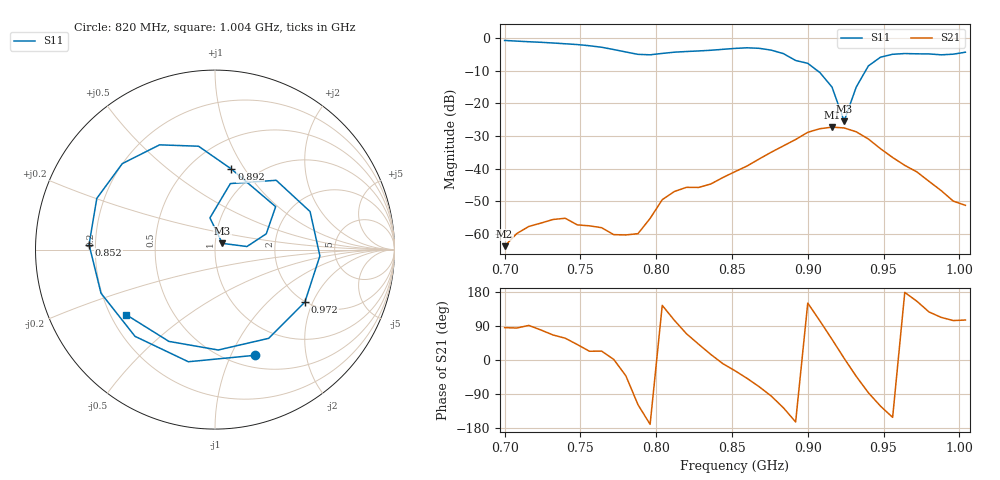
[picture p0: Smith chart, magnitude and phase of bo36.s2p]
# Hz S RI R 50
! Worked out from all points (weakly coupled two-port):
!   39 points, 700 MHz to 1.004 GHz, reference 50 ohm
!   highest |S21| = -27.28 dB at 916 MHz (marker M1); lowest = -63.9 dB at 700 MHz (marker M2)
!   lowest |S11| = -25.4 dB at 924 MHz (marker M3), VSWR 1.11, Z = 54.1 + j3.76 ohm
!   |S11| at or under -10 dB: 906.6 MHz to 938.1 MHz (31.48 MHz wide, 3.41 % of centre)
!   S12 and S22 are empty: the file has one direction only
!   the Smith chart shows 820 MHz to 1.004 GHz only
!   S11 on the Smith chart (normalised r, x): 820 MHz: 0.63, -1.24; 852 MHz: 0.17, +0.02; 892 MHz: 0.77, +0.87; 972 MHz: 1.98, -1.75; 1.004 GHz: 0.26, -0.31
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7e8  0.7656 0.5291  5.11e-05 0.000638  0 0  0 0
7.24e8  0.8319 -0.2618  0.000273 0.00142  0 0  0 0
7.4e8  0.4407 -0.7005  0.000924 0.00145  0 0  0 0
7.56e8  -0.2006 -0.7452  0.00121 0.000516  0 0  0 0
7.72e8  -0.6511 -0.1768  0.000963 2.62e-05  0 0  0 0
7.8e8  -0.5687 0.243  0.000711 -0.000634  0 0  0 0
7.88e8  -0.2029 0.532  -0.000467 -0.000882  0 0  0 0
7.96e8  0.2808 0.4846  -0.00168 -0.000301  0 0  0 0
8.04e8  0.5766 0.1168  -0.00269 0.00195  0 0  0 0
8.2e8  0.2219 -0.589  0.00182 0.00481  0 0  0 0
8.36e8  -0.4457 -0.4832  0.00559 0.00148  0 0  0 0
8.52e8  -0.7017 0.0276  0.00787 -0.00425  0 0  0 0
8.76e8  -0.3089 0.5837  -0.00169 -0.0178  0 0  0 0
8.92e8  0.0913 0.4489  -0.0268 -0.00794  0 0  0 0
9.08e8  0.2856 0.088  -0.00939 0.0398  0 0  0 0
9.16e8  0.178 0.0172  0.0251 0.0353  0 0  0 0
9.24e8  0.0408 0.0347  0.0419 0.00333  0 0  0 0
9.4e8  0.0858 0.3679  0.0018 -0.0284  0 0  0 0
9.56e8  0.5298 0.2118  -0.013 -0.00709  0 0  0 0
9.72e8  0.5007 -0.2925  -0.00804 0.00374  0 0  0 0
9.88e8  0.0177 -0.5594  -0.00176 0.00424  0 0  0 0
1.004e9  -0.4956 -0.3622  -0.000725 0.00262  0 0  0 0
